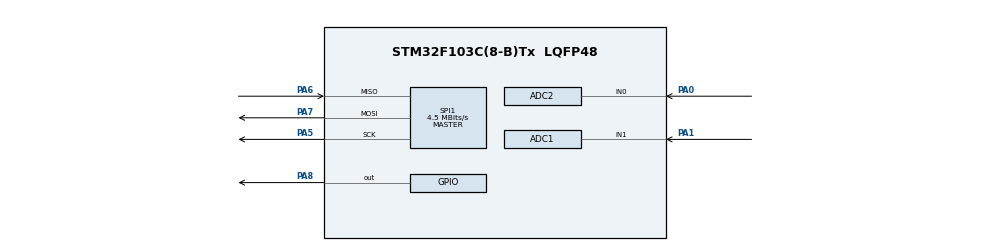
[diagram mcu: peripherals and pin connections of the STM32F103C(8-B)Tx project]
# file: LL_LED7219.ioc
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ADC1.Channel-1\#ChannelRegularConversion=ADC_CHANNEL_1
ADC1.NbrOfConversionFlag=1
ADC1.Rank-1\#ChannelRegularConversion=1
ADC1.SamplingTime-1\#ChannelRegularConversion=ADC_SAMPLETIME_1CYCLE_5
ADC1.master=1
ADC2.Channel-0\#ChannelRegularConversion=ADC_CHANNEL_0
ADC2.NbrOfConversionFlag=1
ADC2.Rank-0\#ChannelRegularConversion=1
ADC2.SamplingTime-0\#ChannelRegularConversion=ADC_SAMPLETIME_1CYCLE_5
Mcu.Family=STM32F1
Mcu.Name=STM32F103C(8-B)Tx
Mcu.Package=LQFP48
NVIC.PriorityGroup=NVIC_PRIORITYGROUP_4
PA0-WKUP.Signal=ADCx_IN0
PA1.Signal=ADCx_IN1
PA13.Mode=Serial_Wire
PA13.Signal=SYS_JTMS-SWDIO
PA14.Mode=Serial_Wire
PA14.Signal=SYS_JTCK-SWCLK
PA5.Mode=Full_Duplex_Master
PA5.Signal=SPI1_SCK
PA6.Mode=Full_Duplex_Master
PA6.Signal=SPI1_MISO
PA7.Mode=Full_Duplex_Master
PA7.Signal=SPI1_MOSI
PA8.GPIO_Speed=GPIO_SPEED_FREQ_MEDIUM
PA8.Signal=GPIO_Output
PD0-OSC_IN.Mode=HSE-External-Oscillator
PD0-OSC_IN.Signal=RCC_OSC_IN
PD1-OSC_OUT.Mode=HSE-External-Oscillator
PD1-OSC_OUT.Signal=RCC_OSC_OUT
ProjectManager.HeapSize=0x200
ProjectManager.StackSize=0x400
ProjectManager.TargetToolchain=MDK-ARM V5
RCC.ADCPresc=RCC_ADCPCLK2_DIV6
RCC.AHBFreq_Value=72000000
RCC.APB1CLKDivider=RCC_HCLK_DIV2
RCC.APB1Freq_Value=36000000
RCC.APB1TimFreq_Value=72000000
RCC.APB2Freq_Value=72000000
RCC.APB2TimFreq_Value=72000000
RCC.HCLKFreq_Value=72000000
RCC.PLLMUL=RCC_PLL_MUL9
RCC.PLLSourceVirtual=RCC_PLLSOURCE_HSE
RCC.SYSCLKFreq_VALUE=72000000
RCC.SYSCLKSource=RCC_SYSCLKSOURCE_PLLCLK
RCC.USBFreq_Value=72000000
SH.ADCx_IN0.0=ADC2_IN0,IN0
SH.ADCx_IN1.0=ADC1_IN1,IN1
SPI1.BaudRatePrescaler=SPI_BAUDRATEPRESCALER_16
SPI1.CLKPhase=SPI_PHASE_2EDGE
SPI1.CLKPolarity=SPI_POLARITY_HIGH
SPI1.CalculateBaudRate=4.5 MBits/s
SPI1.DataSize=SPI_DATASIZE_16BIT
SPI1.Direction=SPI_DIRECTION_2LINES
SPI1.Mode=SPI_MODE_MASTER
SPI1.VirtualType=VM_MASTER
board=custom

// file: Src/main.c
/* USER CODE BEGIN Header */
/**
  ******************************************************************************
  * @file           : main.c
  * @brief          : Main program body
  ******************************************************************************
  ** This notice applies to any and all portions of this file
  * that are not between comment pairs USER CODE BEGIN and
  * USER CODE END. Other portions of this file, whether
  * inserted by the user or by software development tools
  * are owned by their respective copyright owners.
  *
  * COPYRIGHT(c) 2019 STMicroelectronics
  *
  * Redistribution and use in source and binary forms, with or without modification,
  * are permitted provided that the following conditions are met:
  *   1. Redistributions of source code must retain the above copyright notice,
  *      this list of conditions and the following disclaimer.
  *   2. Redistributions in binary form must reproduce the above copyright notice,
  *      this list of conditions and the following disclaimer in the documentation
  *      and/or other materials provided with the distribution.
  *   3. Neither the name of STMicroelectronics nor the names of its contributors
  *      may be used to endorse or promote products derived from this software
  *      without specific prior written permission.
  *
  * THIS SOFTWARE IS PROVIDED BY THE COPYRIGHT HOLDERS AND CONTRIBUTORS "AS IS"
  * AND ANY EXPRESS OR IMPLIED WARRANTIES, INCLUDING, BUT NOT LIMITED TO, THE
  * IMPLIED WARRANTIES OF MERCHANTABILITY AND FITNESS FOR A PARTICULAR PURPOSE ARE
  * DISCLAIMED. IN NO EVENT SHALL THE COPYRIGHT HOLDER OR CONTRIBUTORS BE LIABLE
  * FOR ANY DIRECT, INDIRECT, INCIDENTAL, SPECIAL, EXEMPLARY, OR CONSEQUENTIAL
  * DAMAGES (INCLUDING, BUT NOT LIMITED TO, PROCUREMENT OF SUBSTITUTE GOODS OR
  * SERVICES; LOSS OF USE, DATA, OR PROFITS; OR BUSINESS INTERRUPTION) HOWEVER
  * CAUSED AND ON ANY THEORY OF LIABILITY, WHETHER IN CONTRACT, STRICT LIABILITY,
  * OR TORT (INCLUDING NEGLIGENCE OR OTHERWISE) ARISING IN ANY WAY OUT OF THE USE
  * OF THIS SOFTWARE, EVEN IF ADVISED OF THE POSSIBILITY OF SUCH DAMAGE.
  *
  ******************************************************************************
  */
/* USER CODE END Header */
#include "main.h"

/* USER CODE BEGIN Includes */
#include "max7219.h"
/* USER CODE END Includes */

ADC_HandleTypeDef hadc2;

void SystemClock_Config(void);
static void MX_GPIO_Init(void);
static void MX_ADC1_Init(void);
static void MX_SPI1_Init(void);
static void MX_ADC2_Init(void);

int main(void)
{
  /* USER CODE BEGIN 1 */
  uint16_t i;
	  __IO uint32_t wait_loop_index = 0;
  __IO uint16_t ADC_Data;
  __IO uint16_t ADC_mVolt;
	__IO uint16_t ADC_Data2;
  __IO uint16_t ADC_mVolt2;
  char str01[15];
  /* USER CODE END 1 */

  /* MCU Configuration--------------------------------------------------------*/

  /* Reset of all peripherals, Initializes the Flash interface and the Systick. */
  HAL_Init();

  /* Configure the system clock */
  SystemClock_Config();

  /* Initialize all configured peripherals */
  MX_GPIO_Init();
  MX_ADC1_Init();
  MX_SPI1_Init();
  MX_ADC2_Init();
  /* USER CODE BEGIN 2 */

	LL_ADC_Enable(ADC1);//_____________1stepk
	 wait_loop_index = ((LL_ADC_DELAY_ENABLE_CALIB_ADC_CYCLES * 32) >> 1);
	   while(wait_loop_index != 0)
  {
    wait_loop_index--;
  }
	 LL_ADC_StartCalibration(ADC1);
  while (LL_ADC_IsCalibrationOnGoing(ADC1) != 0) {}

//_____________________________________________________________________________________

			LL_ADC_Enable(ADC2);//_____________2stepk
	 wait_loop_index = ((LL_ADC_DELAY_ENABLE_CALIB_ADC_CYCLES * 32) >> 1);
	   while(wait_loop_index != 0)
  {
    wait_loop_index--;
  }
	 LL_ADC_StartCalibration(ADC2);
  while (LL_ADC_IsCalibrationOnGoing(ADC2) != 0) {}
  i=0;
  LL_mDelay(100);
  LL_GPIO_SetOutputPin(GPIOA, LL_GPIO_PIN_8);
  LL_GPIO_ResetOutputPin(GPIOA, LL_GPIO_PIN_8);
  LL_SPI_Enable(SPI1);
  Init_7219();
  Number_7219(00000);
  LL_mDelay(2000);
  /* USER CODE END 2 */

  /* Infinite loop */
  while (1)
  {

    /* USER CODE BEGIN 3 */
    i++;
   // if(i>999) i=0;
  //  NumberR_7219(i);
   // NumberL_7219(999-i);
		LL_ADC_REG_StartConversionSWStart(ADC1);//start convert
		 while (!LL_ADC_IsActiveFlag_EOS(ADC1))  {} // wait of end
    LL_ADC_ClearFlag_EOS(ADC1); //next step - must clear
			ADC_Data = LL_ADC_REG_ReadConversionData12(ADC1);// our data
			ADC_mVolt = __LL_ADC_CALC_DATA_TO_VOLTAGE((uint32_t)3275, ADC_Data, LL_ADC_RESOLUTION_12B);// convert to volt
			NumberL_7219(ADC_mVolt); //must be send()

			 LL_ADC_REG_StartConversionSWStart(ADC2);//start convert
		 while (!LL_ADC_IsActiveFlag_EOS(ADC2))  {} // wait of end
    LL_ADC_ClearFlag_EOS(ADC2); //next step - must clear
			ADC_Data2 = LL_ADC_REG_ReadConversionData12(ADC2);// our data
			ADC_mVolt2 = __LL_ADC_CALC_DATA_TO_VOLTAGE((uint32_t)3275, ADC_Data2, LL_ADC_RESOLUTION_12B);// convert to volt
			NumberR_7219(ADC_mVolt2); //must be send()

    LL_mDelay(1000);
			 Clear_7219();
  }
  /* USER CODE END 3 */
}

void SystemClock_Config(void)
{
  LL_FLASH_SetLatency(LL_FLASH_LATENCY_2);
  while(LL_FLASH_GetLatency()!= LL_FLASH_LATENCY_2)
  {
  }
  LL_RCC_HSE_Enable();

   /* Wait till HSE is ready */
  while(LL_RCC_HSE_IsReady() != 1)
  {

  }
  LL_RCC_PLL_ConfigDomain_SYS(LL_RCC_PLLSOURCE_HSE_DIV_1, LL_RCC_PLL_MUL_9);
  LL_RCC_PLL_Enable();

   /* Wait till PLL is ready */
  while(LL_RCC_PLL_IsReady() != 1)
  {

  }
  LL_RCC_SetAHBPrescaler(LL_RCC_SYSCLK_DIV_1);
  LL_RCC_SetAPB1Prescaler(LL_RCC_APB1_DIV_2);
  LL_RCC_SetAPB2Prescaler(LL_RCC_APB2_DIV_1);
  LL_RCC_SetSysClkSource(LL_RCC_SYS_CLKSOURCE_PLL);

   /* Wait till System clock is ready */
  while(LL_RCC_GetSysClkSource() != LL_RCC_SYS_CLKSOURCE_STATUS_PLL)
  {

  }
  LL_SetSystemCoreClock(72000000);

   /* Update the time base */
  if (HAL_InitTick (TICK_INT_PRIORITY) != HAL_OK)
  {
    Error_Handler();
  }
  LL_RCC_SetADCClockSource(LL_RCC_ADC_CLKSRC_PCLK2_DIV_6);
}

static void MX_ADC1_Init(void)
{

  LL_ADC_InitTypeDef ADC_InitStruct = {0};
  LL_ADC_CommonInitTypeDef ADC_CommonInitStruct = {0};
  LL_ADC_REG_InitTypeDef ADC_REG_InitStruct = {0};

  LL_GPIO_InitTypeDef GPIO_InitStruct = {0};

  /* Peripheral clock enable */
  LL_APB2_GRP1_EnableClock(LL_APB2_GRP1_PERIPH_ADC1);

  LL_APB2_GRP1_EnableClock(LL_APB2_GRP1_PERIPH_GPIOA);
  /**ADC1 GPIO Configuration
  PA1   ------> ADC1_IN1
  */
  GPIO_InitStruct.Pin = LL_GPIO_PIN_1;
  GPIO_InitStruct.Mode = LL_GPIO_MODE_ANALOG;
  LL_GPIO_Init(GPIOA, &GPIO_InitStruct);

  /** Common config
  */
  ADC_InitStruct.DataAlignment = LL_ADC_DATA_ALIGN_RIGHT;
  ADC_InitStruct.SequencersScanMode = LL_ADC_SEQ_SCAN_DISABLE;
  LL_ADC_Init(ADC1, &ADC_InitStruct);
  ADC_CommonInitStruct.Multimode = LL_ADC_MULTI_INDEPENDENT;
  LL_ADC_CommonInit(__LL_ADC_COMMON_INSTANCE(ADC1), &ADC_CommonInitStruct);
  ADC_REG_InitStruct.TriggerSource = LL_ADC_REG_TRIG_SOFTWARE;
  ADC_REG_InitStruct.SequencerLength = LL_ADC_REG_SEQ_SCAN_DISABLE;
  ADC_REG_InitStruct.SequencerDiscont = LL_ADC_REG_SEQ_DISCONT_DISABLE;
  ADC_REG_InitStruct.ContinuousMode = LL_ADC_REG_CONV_SINGLE;
  ADC_REG_InitStruct.DMATransfer = LL_ADC_REG_DMA_TRANSFER_NONE;
  LL_ADC_REG_Init(ADC1, &ADC_REG_InitStruct);
  /** Configure Regular Channel
  */
  LL_ADC_REG_SetSequencerRanks(ADC1, LL_ADC_REG_RANK_1, LL_ADC_CHANNEL_1);
  LL_ADC_SetChannelSamplingTime(ADC1, LL_ADC_CHANNEL_1, LL_ADC_SAMPLINGTIME_1CYCLE_5);

}

static void MX_ADC2_Init(void)
{

  ADC_ChannelConfTypeDef sConfig = {0};

  /** Common config
  */
  hadc2.Instance = ADC2;
  hadc2.Init.ScanConvMode = ADC_SCAN_DISABLE;
  hadc2.Init.ContinuousConvMode = DISABLE;
  hadc2.Init.DiscontinuousConvMode = DISABLE;
  hadc2.Init.ExternalTrigConv = ADC_SOFTWARE_START;
  hadc2.Init.DataAlign = ADC_DATAALIGN_RIGHT;
  hadc2.Init.NbrOfConversion = 1;
  if (HAL_ADC_Init(&hadc2) != HAL_OK)
  {
    Error_Handler();
  }
  /** Configure Regular Channel
  */
  sConfig.Channel = ADC_CHANNEL_0;
  sConfig.Rank = ADC_REGULAR_RANK_1;
  sConfig.SamplingTime = ADC_SAMPLETIME_1CYCLE_5;
  if (HAL_ADC_ConfigChannel(&hadc2, &sConfig) != HAL_OK)
  {
    Error_Handler();
  }

}

static void MX_SPI1_Init(void)
{

  LL_SPI_InitTypeDef SPI_InitStruct = {0};

  LL_GPIO_InitTypeDef GPIO_InitStruct = {0};

  /* Peripheral clock enable */
  LL_APB2_GRP1_EnableClock(LL_APB2_GRP1_PERIPH_SPI1);

  LL_APB2_GRP1_EnableClock(LL_APB2_GRP1_PERIPH_GPIOA);
  /**SPI1 GPIO Configuration
  PA5   ------> SPI1_SCK
  PA6   ------> SPI1_MISO
  PA7   ------> SPI1_MOSI
  */
  GPIO_InitStruct.Pin = LL_GPIO_PIN_5|LL_GPIO_PIN_7;
  GPIO_InitStruct.Mode = LL_GPIO_MODE_ALTERNATE;
  GPIO_InitStruct.Speed = LL_GPIO_SPEED_FREQ_HIGH;
  GPIO_InitStruct.OutputType = LL_GPIO_OUTPUT_PUSHPULL;
  LL_GPIO_Init(GPIOA, &GPIO_InitStruct);

  GPIO_InitStruct.Pin = LL_GPIO_PIN_6;
  GPIO_InitStruct.Mode = LL_GPIO_MODE_FLOATING;
  LL_GPIO_Init(GPIOA, &GPIO_InitStruct);

  /* SPI1 parameter configuration*/
  SPI_InitStruct.TransferDirection = LL_SPI_FULL_DUPLEX;
  SPI_InitStruct.Mode = LL_SPI_MODE_MASTER;
  SPI_InitStruct.DataWidth = LL_SPI_DATAWIDTH_16BIT;
  SPI_InitStruct.ClockPolarity = LL_SPI_POLARITY_HIGH;
  SPI_InitStruct.ClockPhase = LL_SPI_PHASE_2EDGE;
  SPI_InitStruct.NSS = LL_SPI_NSS_SOFT;
  SPI_InitStruct.BaudRate = LL_SPI_BAUDRATEPRESCALER_DIV16;
  SPI_InitStruct.BitOrder = LL_SPI_MSB_FIRST;
  SPI_InitStruct.CRCCalculation = LL_SPI_CRCCALCULATION_DISABLE;
  SPI_InitStruct.CRCPoly = 10;
  LL_SPI_Init(SPI1, &SPI_InitStruct);

}

static void MX_GPIO_Init(void)
{
  LL_GPIO_InitTypeDef GPIO_InitStruct = {0};

  /* GPIO Ports Clock Enable */
  LL_APB2_GRP1_EnableClock(LL_APB2_GRP1_PERIPH_GPIOD);
  LL_APB2_GRP1_EnableClock(LL_APB2_GRP1_PERIPH_GPIOA);

  /**/
  LL_GPIO_ResetOutputPin(GPIOA, LL_GPIO_PIN_8);

  /**/
  GPIO_InitStruct.Pin = LL_GPIO_PIN_8;
  GPIO_InitStruct.Mode = LL_GPIO_MODE_OUTPUT;
  GPIO_InitStruct.Speed = LL_GPIO_SPEED_FREQ_MEDIUM;
  GPIO_InitStruct.OutputType = LL_GPIO_OUTPUT_PUSHPULL;
  LL_GPIO_Init(GPIOA, &GPIO_InitStruct);

}

void Error_Handler(void)
{
}

/************************ (C) COPYRIGHT STMicroelectronics *****END OF FILE****/
